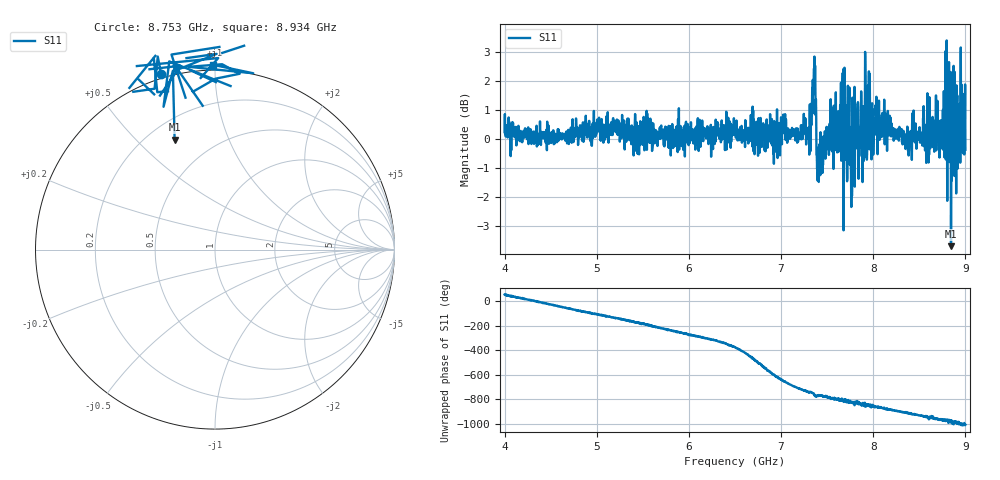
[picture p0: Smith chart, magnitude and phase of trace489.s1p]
! Created with skrf 1.8.0 (http://scikit-rf.org).
# Hz S RI R 50.0
!freq ReS11 ImS11
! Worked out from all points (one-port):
!   1601 points, 4 GHz to 9 GHz, reference 50 ohm
!   lowest |S11| = -3.7 dB at 8.844 GHz (marker M1), VSWR 4.75, Z = 15.3 + j32.6 ohm
!   |S11| at or under -10 dB: nowhere
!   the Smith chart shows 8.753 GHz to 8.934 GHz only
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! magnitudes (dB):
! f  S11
! 4 GHz  0.2
! 4.625 GHz  0.0
! 5.25 GHz  -0.1
! 5.875 GHz  -0.1
! 6.5 GHz  0.4
! 7.125 GHz  0.1
! 7.294 GHz  0.2
! 7.356 GHz  2.4
! 7.409 GHz  -1.5
! 7.531 GHz  -0.4
! 7.603 GHz  0.1
! 7.65 GHz  1.9
! 7.684 GHz  -0.5
! 7.703 GHz  -0.4
! 7.75 GHz  -0.4
! 7.769 GHz  -2.0
! 7.812 GHz  0.7
! 7.866 GHz  0.3
! 7.891 GHz  0.5
! 7.962 GHz  2.2
! 7.997 GHz  0.8
! 8.119 GHz  1.4
! 8.375 GHz  -0.2
! 8.738 GHz  0.6
! 8.8 GHz  1.2
! 8.844 GHz  -3.7
! 8.972 GHz  0.2
! 9 GHz  -0.4
